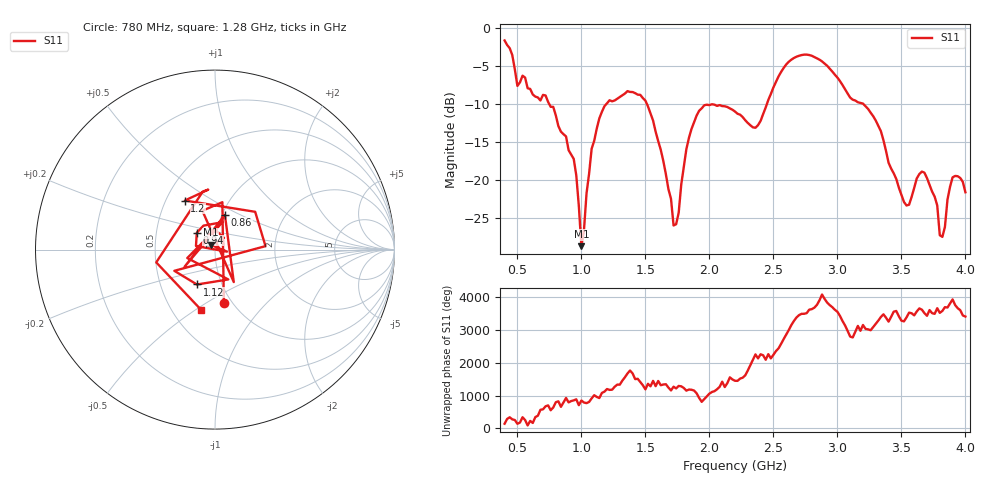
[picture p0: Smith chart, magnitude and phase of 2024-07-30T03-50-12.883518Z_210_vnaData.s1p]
!Created with skrf (http://scikit-rf.org).
# Hz S RI R 50.0
!freq ReS11 ImS11
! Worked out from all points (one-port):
!   181 points, 400 MHz to 4 GHz, reference 50 ohm
!   lowest |S11| = -28.6 dB at 1 GHz (marker M1), VSWR 1.08, Z = 47.5 + j2.58 ohm
!   |S11| at or under -10 dB: 749.6 MHz to 1.193 GHz (443.5 MHz wide, 45.7 % of centre); 1.513 GHz to 2.019 GHz (505.9 MHz wide, 28.7 % of centre); 3.205 GHz to end of sweep (the widest 3 of 4)
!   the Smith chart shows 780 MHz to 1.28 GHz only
!   S11 on the Smith chart (normalised r, x): 780 MHz: 0.91, -0.60; 860 MHz: 1.03, +0.42; 940 MHz: 0.80, +0.15; 1.12 GHz: 0.76, -0.31; 1.2 GHz: 0.62, +0.38; 1.28 GHz: 0.69, -0.53
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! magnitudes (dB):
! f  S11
! 400 MHz  -1.6
! 500 MHz  -7.6
! 780 MHz  -10.3
! 860 MHz  -13.9
! 940 MHz  -17.2
! 1 GHz  -28.6
! 1.08 GHz  -15.8
! 1.12 GHz  -13.2
! 1.2 GHz  -9.9
! 1.28 GHz  -9.3
! 1.3 GHz  -9.0
! 1.5 GHz  -9.5
! 1.64 GHz  -17.5
! 1.72 GHz  -25.9
! 1.76 GHz  -24.3
! 1.82 GHz  -15.9
! 1.92 GHz  -10.8
! 2.2 GHz  -11.0
! 2.36 GHz  -13.1
! 2.66 GHz  -3.9
! 2.88 GHz  -4.4
! 3.1 GHz  -9.1
! 3.3 GHz  -12.1
! 3.56 GHz  -23.2
! 3.68 GHz  -19.0
! 3.82 GHz  -27.4
! 3.9 GHz  -19.6
! 4 GHz  -21.6
